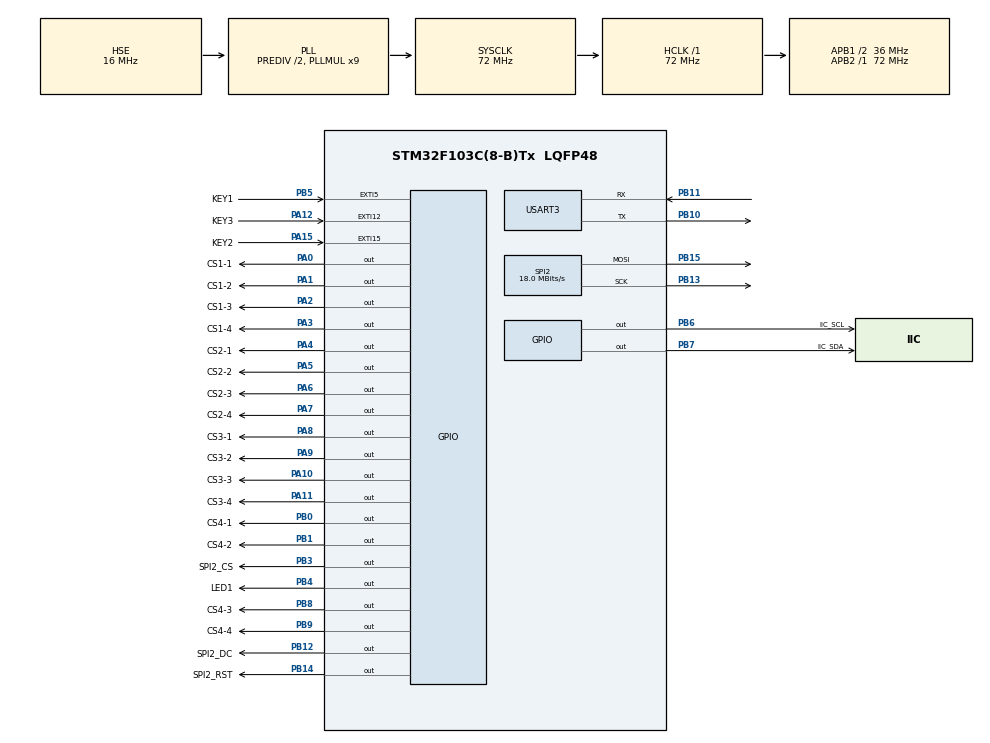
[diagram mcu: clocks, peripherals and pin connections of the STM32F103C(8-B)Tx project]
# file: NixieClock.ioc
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Mcu.Family=STM32F1
Mcu.Name=STM32F103C(8-B)Tx
Mcu.Package=LQFP48
NVIC.EXTI15_10_IRQn=true\:3\:0\:true\:false\:true\:true\:true
NVIC.EXTI9_5_IRQn=true\:3\:0\:true\:false\:true\:true\:true
NVIC.PriorityGroup=NVIC_PRIORITYGROUP_4
NVIC.TIM2_IRQn=true\:2\:0\:true\:false\:true\:true\:true
NVIC.USART3_IRQn=true\:0\:0\:false\:false\:true\:true\:true
PA0-WKUP.GPIO_Label=CS1-1
PA0-WKUP.GPIO_PuPd=GPIO_PULLUP
PA0-WKUP.GPIO_Speed=GPIO_SPEED_FREQ_LOW
PA0-WKUP.Signal=GPIO_Output
PA1.GPIO_Label=CS1-2
PA1.GPIO_PuPd=GPIO_PULLUP
PA1.GPIO_Speed=GPIO_SPEED_FREQ_LOW
PA1.Signal=GPIO_Output
PA10.GPIO_Label=CS3-3
PA10.GPIO_PuPd=GPIO_PULLUP
PA10.GPIO_Speed=GPIO_SPEED_FREQ_LOW
PA10.Signal=GPIO_Output
PA11.GPIO_Label=CS3-4
PA11.GPIO_PuPd=GPIO_PULLUP
PA11.GPIO_Speed=GPIO_SPEED_FREQ_LOW
PA11.Signal=GPIO_Output
PA12.GPIO_Label=KEY3
PA12.GPIO_PuPd=GPIO_PULLUP
PA12.Signal=GPXTI12
PA13.Mode=Serial_Wire
PA13.Signal=SYS_JTMS-SWDIO
PA14.Mode=Serial_Wire
PA14.Signal=SYS_JTCK-SWCLK
PA15.GPIO_Label=KEY2
PA15.GPIO_PuPd=GPIO_PULLUP
PA15.Signal=GPXTI15
PA2.GPIO_Label=CS1-3
PA2.GPIO_PuPd=GPIO_PULLUP
PA2.GPIO_Speed=GPIO_SPEED_FREQ_LOW
PA2.Signal=GPIO_Output
PA3.GPIO_Label=CS1-4
PA3.GPIO_PuPd=GPIO_PULLUP
PA3.GPIO_Speed=GPIO_SPEED_FREQ_LOW
PA3.Signal=GPIO_Output
PA4.GPIO_Label=CS2-1
PA4.GPIO_PuPd=GPIO_PULLUP
PA4.GPIO_Speed=GPIO_SPEED_FREQ_LOW
PA4.Signal=GPIO_Output
PA5.GPIO_Label=CS2-2
PA5.GPIO_PuPd=GPIO_PULLUP
PA5.GPIO_Speed=GPIO_SPEED_FREQ_LOW
PA5.Signal=GPIO_Output
PA6.GPIO_Label=CS2-3
PA6.GPIO_PuPd=GPIO_PULLUP
PA6.GPIO_Speed=GPIO_SPEED_FREQ_LOW
PA6.Signal=GPIO_Output
PA7.GPIO_Label=CS2-4
PA7.GPIO_PuPd=GPIO_PULLUP
PA7.GPIO_Speed=GPIO_SPEED_FREQ_LOW
PA7.Signal=GPIO_Output
PA8.GPIO_Label=CS3-1
PA8.GPIO_PuPd=GPIO_PULLUP
PA8.GPIO_Speed=GPIO_SPEED_FREQ_LOW
PA8.Signal=GPIO_Output
PA9.GPIO_Label=CS3-2
PA9.GPIO_PuPd=GPIO_PULLUP
PA9.GPIO_Speed=GPIO_SPEED_FREQ_LOW
PA9.Signal=GPIO_Output
PB0.GPIO_Label=CS4-1
PB0.GPIO_PuPd=GPIO_PULLUP
PB0.GPIO_Speed=GPIO_SPEED_FREQ_LOW
PB0.Signal=GPIO_Output
PB1.GPIO_Label=CS4-2
PB1.GPIO_PuPd=GPIO_PULLUP
PB1.GPIO_Speed=GPIO_SPEED_FREQ_LOW
PB1.Signal=GPIO_Output
PB10.Mode=Asynchronous
PB10.Signal=USART3_TX
PB11.GPIO_PuPd=GPIO_PULLUP
PB11.Mode=Asynchronous
PB11.Signal=USART3_RX
PB12.GPIO_Label=SPI2_DC
PB12.GPIO_PuPd=GPIO_PULLUP
PB12.GPIO_Speed=GPIO_SPEED_FREQ_HIGH
PB12.Signal=GPIO_Output
PB13.Mode=TX_Only_Simplex_Unidirect_Master
PB13.Signal=SPI2_SCK
PB14.GPIO_Label=SPI2_RST
PB14.GPIO_PuPd=GPIO_PULLUP
PB14.GPIO_Speed=GPIO_SPEED_FREQ_HIGH
PB14.Signal=GPIO_Output
PB15.Mode=TX_Only_Simplex_Unidirect_Master
PB15.Signal=SPI2_MOSI
PB3.GPIO_Label=SPI2_CS
PB3.GPIO_PuPd=GPIO_PULLUP
PB3.GPIO_Speed=GPIO_SPEED_FREQ_HIGH
PB3.Signal=GPIO_Output
PB4.GPIO_Label=LED1
PB4.GPIO_PuPd=GPIO_PULLUP
PB4.Signal=GPIO_Output
PB5.GPIO_Label=KEY1
PB5.GPIO_PuPd=GPIO_PULLUP
PB5.Signal=GPXTI5
PB6.GPIO_Label=IIC_SCL
PB6.GPIO_PuPd=GPIO_PULLUP
PB6.GPIO_Speed=GPIO_SPEED_FREQ_LOW
PB6.Signal=GPIO_Output
PB7.GPIO_Label=IIC_SDA
PB7.GPIO_PuPd=GPIO_PULLUP
PB7.GPIO_Speed=GPIO_SPEED_FREQ_LOW
PB7.Signal=GPIO_Output
PB8.GPIO_Label=CS4-3
PB8.GPIO_PuPd=GPIO_PULLUP
PB8.GPIO_Speed=GPIO_SPEED_FREQ_LOW
PB8.Signal=GPIO_Output
PB9.GPIO_Label=CS4-4
PB9.GPIO_PuPd=GPIO_PULLUP
PB9.GPIO_Speed=GPIO_SPEED_FREQ_LOW
PB9.Signal=GPIO_Output
PD0-OSC_IN.Mode=HSE-External-Oscillator
PD0-OSC_IN.Signal=RCC_OSC_IN
PD1-OSC_OUT.Mode=HSE-External-Oscillator
PD1-OSC_OUT.Signal=RCC_OSC_OUT
ProjectManager.HeapSize=0x200
ProjectManager.StackSize=0x400
ProjectManager.TargetToolchain=MDK-ARM V5.32
RCC.AHBFreq_Value=72000000
RCC.APB1CLKDivider=RCC_HCLK_DIV2
RCC.APB1Freq_Value=36000000
RCC.APB1TimFreq_Value=72000000
RCC.APB2Freq_Value=72000000
RCC.APB2TimFreq_Value=72000000
RCC.HCLKFreq_Value=72000000
RCC.HSEDivPLL=RCC_HSE_PREDIV_DIV2
RCC.HSE_VALUE=16000000
RCC.PLLMUL=RCC_PLL_MUL9
RCC.PLLSourceVirtual=RCC_PLLSOURCE_HSE
RCC.SYSCLKFreq_VALUE=72000000
RCC.SYSCLKSource=RCC_SYSCLKSOURCE_PLLCLK
RCC.USBFreq_Value=72000000
SPI2.CalculateBaudRate=18.0 MBits/s
SPI2.Direction=SPI_DIRECTION_2LINES
SPI2.Mode=SPI_MODE_MASTER
SPI2.VirtualType=VM_MASTER
TIM2.Period=9999
TIM2.Prescaler=7199
USART3.VirtualMode=VM_ASYNC
VP_TIM2_VS_ClockSourceINT.Mode=Internal
board=custom

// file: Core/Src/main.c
/* USER CODE BEGIN Header */
/**
  ******************************************************************************
  * @file           : main.c
  * @brief          : Main program body
  ******************************************************************************
  * @attention
  *
  * <h2><center>&copy; Copyright (c) 2021 STMicroelectronics.
  * All rights reserved.</center></h2>
  *
  * This software component is licensed by ST under BSD 3-Clause license,
  * the "License"; You may not use this file except in compliance with the
  * License. You may obtain a copy of the License at:
  *                        opensource.org/licenses/BSD-3-Clause
  *
  ******************************************************************************
  */
/* USER CODE END Header */
#include "main.h"
#include "spi.h"
#include "tim.h"
#include "usart.h"
#include "gpio.h"

/* USER CODE BEGIN Includes */
#include "oled.h"
#include "wifi.h"
#include "string.h"
#include "DS3231_IIC.h"
#include "K155ID1.h"
#include "jansson.h"
/* USER CODE END Includes */

/* USER CODE BEGIN PD */

#define SOFT_DELAY		Delay(0x4FFFFF);
/* USER CODE END PD */

/* USER CODE BEGIN PV */

uint8_t RxBuf[BufSize];
uint8_t RxChar;									//单字接收缓存
extern char* SysTime1;					//纯数字时间存储区
int i = 0;											//接收缓存index
uint8_t JSON_RCVD = 0;					//json接受软标志位
uint8_t IT_Status = 0;					//软中断标志位
extern _calendar_obj calendar;	//日历结构�?
extern char Timejson[64];		//时钟json报文

extern Nixie Nixie_One;
extern Nixie Nixie_Two;
extern Nixie Nixie_Three;
extern Nixie Nixie_Four;

uint8_t ON_OFF_STA = 1;
uint8_t TUBE_CNT = 0;
#define TUBE_CNT_LIMIT 10

/* USER CODE END PV */

void SystemClock_Config(void);
/* USER CODE BEGIN PFP */
int CharToInt(char * string, int pos1, int pos2);   //字符（串）转int型函�?
/* USER CODE END PFP */

int main(void)
{

  /* MCU Configuration--------------------------------------------------------*/

  /* Reset of all peripherals, Initializes the Flash interface and the Systick. */
  HAL_Init();

  /* Configure the system clock */
  SystemClock_Config();

  /* Initialize all configured peripherals */
  MX_GPIO_Init();
  MX_TIM2_Init();
  MX_USART3_UART_Init();
  MX_SPI2_Init();
  /* USER CODE BEGIN 2 */
	OLED_Init();
	WIFI_Init();
	I2C_DS3231_Init();
	Nixie_Self_Chk();
	HAL_UART_Receive_IT(&huart3,&RxChar,1);
	HAL_TIM_Base_Start_IT(&htim2);
	OLED_Clear();
	OLED_Clock();
	OLED_ShowNum(16,5,calendar.sec,2,16);
  /* USER CODE END 2 */

  /* Infinite loop */
  /* USER CODE BEGIN WHILE */
  while (1)
  {
		if(JSON_RCVD == 1)
		{
			json_error_t error;
			json_t *root;
			root = json_loads(Timejson,0, &error);
			if(json_is_object(root))
			{
				SysTime1 = (char *)json_string_value(json_object_get(root, "sysTime1"));
				json_decref(root);
				IT_Status = 1;
				JSON_RCVD = 0;
			}
		}
		if(IT_Status == 1)
		{
			IT_Status = 0;
			I2C_DS3231_SetTime(CharToInt(SysTime1,1,4),
													CharToInt(SysTime1,5,6),
													CharToInt(SysTime1,7,8),
													CharToInt(SysTime1,9,10),
													CharToInt(SysTime1,11,12),
													CharToInt(SysTime1,13,14));
		}
    /* USER CODE END WHILE */

  }
}

void SystemClock_Config(void)
{
  RCC_OscInitTypeDef RCC_OscInitStruct = {0};
  RCC_ClkInitTypeDef RCC_ClkInitStruct = {0};

  /** Initializes the RCC Oscillators according to the specified parameters
  * in the RCC_OscInitTypeDef structure.
  */
  RCC_OscInitStruct.OscillatorType = RCC_OSCILLATORTYPE_HSE;
  RCC_OscInitStruct.HSEState = RCC_HSE_ON;
  RCC_OscInitStruct.HSEPredivValue = RCC_HSE_PREDIV_DIV2;
  RCC_OscInitStruct.HSIState = RCC_HSI_ON;
  RCC_OscInitStruct.PLL.PLLState = RCC_PLL_ON;
  RCC_OscInitStruct.PLL.PLLSource = RCC_PLLSOURCE_HSE;
  RCC_OscInitStruct.PLL.PLLMUL = RCC_PLL_MUL9;
  if (HAL_RCC_OscConfig(&RCC_OscInitStruct) != HAL_OK)
  {
    Error_Handler();
  }
  /** Initializes the CPU, AHB and APB buses clocks
  */
  RCC_ClkInitStruct.ClockType = RCC_CLOCKTYPE_HCLK|RCC_CLOCKTYPE_SYSCLK
                              |RCC_CLOCKTYPE_PCLK1|RCC_CLOCKTYPE_PCLK2;
  RCC_ClkInitStruct.SYSCLKSource = RCC_SYSCLKSOURCE_PLLCLK;
  RCC_ClkInitStruct.AHBCLKDivider = RCC_SYSCLK_DIV1;
  RCC_ClkInitStruct.APB1CLKDivider = RCC_HCLK_DIV2;
  RCC_ClkInitStruct.APB2CLKDivider = RCC_HCLK_DIV1;

  if (HAL_RCC_ClockConfig(&RCC_ClkInitStruct, FLASH_LATENCY_2) != HAL_OK)
  {
    Error_Handler();
  }
}

/* USER CODE BEGIN 4 */
int CharToInt(char * string, int pos1, int pos2)
{
	int res=0;
	int tmp;
	int gap = pos2 - pos1;
	for(int i=0;i<=gap;i++)
	{
		tmp = (int)string[pos1+i-1]-48;
		for(int k=0;k<gap-i;k++)
		{
            tmp*=10;
        }
        res+=tmp;
	}
    return res;
}
void HAL_GPIO_EXTI_Callback(uint16_t GPIO_Pin)
{
	switch(GPIO_Pin)
	{
		case KEY1_Pin :
		{
			if(ON_OFF_STA == 0)
			{
				Nixie_Display_Set(ALL,ON);
				ON_OFF_STA = 1;
				TUBE_CNT = 0;
			}
		}
		case KEY2_Pin :
		{
			WIFI_GetTime();
			JSON_RCVD = 1;
			IT_Status = 1;
		}
		case KEY3_Pin :
		{
		}
	}
}

void HAL_TIM_PeriodElapsedCallback(TIM_HandleTypeDef *htim)
{
	TUBE_CNT++;
		if(ON_OFF_STA == 1 && TUBE_CNT > TUBE_CNT_LIMIT)
		{
			Nixie_Display_Set(ALL,OFF);
			TUBE_CNT = 0;
			ON_OFF_STA = 0;
		}
		HAL_GPIO_TogglePin(GPIOB ,GPIO_PIN_4);
		I2C_DS3231_getTime();
		OLED_Clock();
		OLED_ShowNum(16,5,calendar.sec,2,16);
		if(ON_OFF_STA == 1)
		Nixie_Num_Set(ALL,ALL_CURR);
}

void HAL_UART_RxCpltCallback(UART_HandleTypeDef *huart)
{
	RxBuf[i++] = RxChar;
	if(huart->Instance == USART3)
	{
		if(RxBuf[i-1] == 0x0A && RxBuf[i-2] == 0x0D)
		{
			memset(RxBuf,0x00,i);
			i = 0;
		}

		if(RxBuf[i-1] == 0x7D && RxBuf[i-2] == 0x22)
		{
			strcpy(Timejson, (char *)RxBuf);
			memset(RxBuf,0x00,i);
			i = 0;
			JSON_RCVD = 1;
		}
	}
	HAL_UART_Receive_IT(&huart3,&RxChar,1);
}
/* USER CODE END 4 */

void Error_Handler(void)
{
  /* USER CODE BEGIN Error_Handler_Debug */
  /* User can add his own implementation to report the HAL error return state */
 // __disable_irq();
  while (1)
 {
   }
  /* USER CODE END Error_Handler_Debug */
}

/************************ (C) COPYRIGHT STMicroelectronics *****END OF FILE****/
